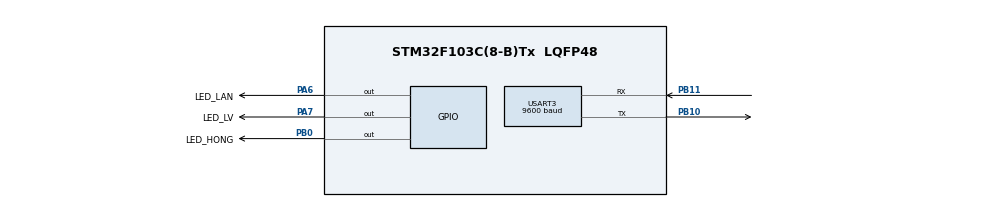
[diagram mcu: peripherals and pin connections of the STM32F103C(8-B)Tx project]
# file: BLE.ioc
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Dma.Request0=USART3_TX
Dma.Request1=USART3_RX
Dma.USART3_RX.1.Direction=DMA_PERIPH_TO_MEMORY
Dma.USART3_RX.1.Instance=DMA1_Channel3
Dma.USART3_RX.1.MemDataAlignment=DMA_MDATAALIGN_BYTE
Dma.USART3_RX.1.MemInc=DMA_MINC_ENABLE
Dma.USART3_RX.1.Mode=DMA_NORMAL
Dma.USART3_RX.1.PeriphDataAlignment=DMA_PDATAALIGN_BYTE
Dma.USART3_RX.1.PeriphInc=DMA_PINC_DISABLE
Dma.USART3_RX.1.Priority=DMA_PRIORITY_LOW
Dma.USART3_TX.0.Direction=DMA_MEMORY_TO_PERIPH
Dma.USART3_TX.0.Instance=DMA1_Channel2
Dma.USART3_TX.0.MemDataAlignment=DMA_MDATAALIGN_BYTE
Dma.USART3_TX.0.MemInc=DMA_MINC_ENABLE
Dma.USART3_TX.0.Mode=DMA_NORMAL
Dma.USART3_TX.0.PeriphDataAlignment=DMA_PDATAALIGN_BYTE
Dma.USART3_TX.0.PeriphInc=DMA_PINC_DISABLE
Dma.USART3_TX.0.Priority=DMA_PRIORITY_LOW
Mcu.Family=STM32F1
Mcu.Name=STM32F103C(8-B)Tx
Mcu.Package=LQFP48
NVIC.DMA1_Channel2_IRQn=true\:0\:0\:false\:false\:true\:false\:true\:true
NVIC.DMA1_Channel3_IRQn=true\:0\:0\:false\:false\:true\:false\:true\:true
NVIC.PriorityGroup=NVIC_PRIORITYGROUP_4
NVIC.USART3_IRQn=true\:0\:0\:false\:false\:true\:true\:true\:true
PA13.Mode=Serial_Wire
PA13.Signal=SYS_JTMS-SWDIO
PA14.Mode=Serial_Wire
PA14.Signal=SYS_JTCK-SWCLK
PA6.GPIO_Label=LED_LAN
PA6.Signal=GPIO_Output
PA7.GPIO_Label=LED_LV
PA7.Signal=GPIO_Output
PB0.GPIO_Label=LED_HONG
PB0.Signal=GPIO_Output
PB10.Mode=Asynchronous
PB10.Signal=USART3_TX
PB11.Mode=Asynchronous
PB11.Signal=USART3_RX
ProjectManager.HeapSize=0x200
ProjectManager.StackSize=0x400
ProjectManager.TargetToolchain=CMake
RCC.APB1Freq_Value=8000000
RCC.APB2Freq_Value=8000000
USART3.BaudRate=9600
USART3.VirtualMode=VM_ASYNC
board=custom

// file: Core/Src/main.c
/* USER CODE BEGIN Header */
/**
  ******************************************************************************
  * @file           : main.c
  * @brief          : Main program body
  ******************************************************************************
  * @attention
  *
  * Copyright (c) 2026 STMicroelectronics.
  * All rights reserved.
  *
  * This software is licensed under terms that can be found in the LICENSE file
  * in the root directory of this software component.
  * If no LICENSE file comes with this software, it is provided AS-IS.
  *
  ******************************************************************************
  */
/* USER CODE END Header */
#include "main.h"

UART_HandleTypeDef huart3;
DMA_HandleTypeDef hdma_usart3_tx;
DMA_HandleTypeDef hdma_usart3_rx;

/* USER CODE BEGIN PV */
uint8_t SHUJV[50];  /* 串口 DMA 接收缓冲区，存储接收到的数据帧 */
/* USER CODE END PV */

void SystemClock_Config(void);
static void MX_GPIO_Init(void);
static void MX_DMA_Init(void);
static void MX_USART3_UART_Init(void);

/* USER CODE BEGIN 0 */
/* 串口空闲中断+DMA 接收回调：收到一帧数据时触发 */
void HAL_UARTEx_RxEventCallback(UART_HandleTypeDef *huart, uint16_t Size){
  if (huart == &huart3) {
    HAL_UART_Transmit_DMA(&huart3, SHUJV, Size);    /* 将收到的数据原样回传（回显） */

    /* 数据帧格式：0xAA + 长度 + (LED编号 + 状态)*N + 校验和 */
    if (SHUJV[0] == 0xAA) {                          /* 帧头校验 */
      if (SHUJV[1] == Size) {                        /* 长度校验 */
        uint8_t SUM = 0;
        for(int i = 0;i < Size - 1;i++){              /* 累加除最后一字节外的所有数据 */
          SUM += SHUJV[i];
        }
        if (SUM == SHUJV[Size - 1]) {                 /* 和校验：累加结果 == 最后一字节 */
          for (int i = 2; i < Size - 1; i += 2) {     /* 从第3字节起，每两字节为一组控制指令 */
                GPIO_PinState BIANL = GPIO_PIN_SET;   /* 默认高电平（关灯） */
                if (SHUJV[i+1] == 0x00) {             /* 状态字节为 0x00 时低电平（开灯） */
                  BIANL = GPIO_PIN_RESET;
                }
                if (SHUJV[i] == 0x01) {               /* LED编号=0x01 → 蓝灯 */
                  HAL_GPIO_WritePin(LED_LAN_GPIO_Port, LED_LAN_Pin, BIANL);
                }else if(SHUJV[i] == 0x02) {          /* LED编号=0x02 → 绿灯 */
                  HAL_GPIO_WritePin(LED_LV_GPIO_Port, LED_LV_Pin, BIANL);
                }else if(SHUJV[i] == 0x03) {          /* LED编号=0x03 → 红灯 */
                  HAL_GPIO_WritePin(LED_HONG_GPIO_Port, LED_HONG_Pin, BIANL);
                }
          }

        }
      }

    }
    HAL_UARTEx_ReceiveToIdle_DMA(&huart3, SHUJV, sizeof(SHUJV)); /* 重新开启 DMA 接收 */
    __HAL_DMA_DISABLE_IT(&hdma_usart3_rx, DMA_IT_HT);            /* 关闭半传输中断，避免干扰 */
  }
}
/* USER CODE END 0 */

int main(void)
{

  /* MCU Configuration--------------------------------------------------------*/

  /* Reset of all peripherals, Initializes the Flash interface and the Systick. */
  HAL_Init();

  /* Configure the system clock */
  SystemClock_Config();

  /* Initialize all configured peripherals */
  MX_GPIO_Init();
  MX_DMA_Init();
  MX_USART3_UART_Init();
  /* USER CODE BEGIN 2 */
  HAL_UARTEx_ReceiveToIdle_DMA(&huart3, SHUJV, sizeof(SHUJV));  /* 开启空闲中断+DMA 接收数据 */
  __HAL_DMA_DISABLE_IT(&hdma_usart3_rx, DMA_IT_HT);             /* 关闭 DMA 半传输中断 */
  /* USER CODE END 2 */

  /* Infinite loop */
  while (1)
  {

  }
}

void SystemClock_Config(void)
{
  RCC_OscInitTypeDef RCC_OscInitStruct = {0};
  RCC_ClkInitTypeDef RCC_ClkInitStruct = {0};

  /** Initializes the RCC Oscillators according to the specified parameters
  * in the RCC_OscInitTypeDef structure.
  */
  RCC_OscInitStruct.OscillatorType = RCC_OSCILLATORTYPE_HSI;
  RCC_OscInitStruct.HSIState = RCC_HSI_ON;
  RCC_OscInitStruct.HSICalibrationValue = RCC_HSICALIBRATION_DEFAULT;
  RCC_OscInitStruct.PLL.PLLState = RCC_PLL_NONE;
  if (HAL_RCC_OscConfig(&RCC_OscInitStruct) != HAL_OK)
  {
    Error_Handler();
  }

  /** Initializes the CPU, AHB and APB buses clocks
  */
  RCC_ClkInitStruct.ClockType = RCC_CLOCKTYPE_HCLK|RCC_CLOCKTYPE_SYSCLK
                              |RCC_CLOCKTYPE_PCLK1|RCC_CLOCKTYPE_PCLK2;
  RCC_ClkInitStruct.SYSCLKSource = RCC_SYSCLKSOURCE_HSI;
  RCC_ClkInitStruct.AHBCLKDivider = RCC_SYSCLK_DIV1;
  RCC_ClkInitStruct.APB1CLKDivider = RCC_HCLK_DIV1;
  RCC_ClkInitStruct.APB2CLKDivider = RCC_HCLK_DIV1;

  if (HAL_RCC_ClockConfig(&RCC_ClkInitStruct, FLASH_LATENCY_0) != HAL_OK)
  {
    Error_Handler();
  }
}

static void MX_USART3_UART_Init(void)
{

  huart3.Instance = USART3;
  huart3.Init.BaudRate = 9600;
  huart3.Init.WordLength = UART_WORDLENGTH_8B;
  huart3.Init.StopBits = UART_STOPBITS_1;
  huart3.Init.Parity = UART_PARITY_NONE;
  huart3.Init.Mode = UART_MODE_TX_RX;
  huart3.Init.HwFlowCtl = UART_HWCONTROL_NONE;
  huart3.Init.OverSampling = UART_OVERSAMPLING_16;
  if (HAL_UART_Init(&huart3) != HAL_OK)
  {
    Error_Handler();
  }

}

static void MX_DMA_Init(void)
{

  /* DMA controller clock enable */
  __HAL_RCC_DMA1_CLK_ENABLE();

  /* DMA interrupt init */
  /* DMA1_Channel2_IRQn interrupt configuration */
  HAL_NVIC_SetPriority(DMA1_Channel2_IRQn, 0, 0);
  HAL_NVIC_EnableIRQ(DMA1_Channel2_IRQn);
  /* DMA1_Channel3_IRQn interrupt configuration */
  HAL_NVIC_SetPriority(DMA1_Channel3_IRQn, 0, 0);
  HAL_NVIC_EnableIRQ(DMA1_Channel3_IRQn);

}

static void MX_GPIO_Init(void)
{
  GPIO_InitTypeDef GPIO_InitStruct = {0};

  /* GPIO Ports Clock Enable */
  __HAL_RCC_GPIOA_CLK_ENABLE();
  __HAL_RCC_GPIOB_CLK_ENABLE();

  /*Configure GPIO pin Output Level */
  HAL_GPIO_WritePin(GPIOA, LED_LAN_Pin|LED_LV_Pin, GPIO_PIN_RESET);

  /*Configure GPIO pin Output Level */
  HAL_GPIO_WritePin(LED_HONG_GPIO_Port, LED_HONG_Pin, GPIO_PIN_RESET);

  /*Configure GPIO pins : LED_LAN_Pin LED_LV_Pin */
  GPIO_InitStruct.Pin = LED_LAN_Pin|LED_LV_Pin;
  GPIO_InitStruct.Mode = GPIO_MODE_OUTPUT_PP;
  GPIO_InitStruct.Pull = GPIO_NOPULL;
  GPIO_InitStruct.Speed = GPIO_SPEED_FREQ_LOW;
  HAL_GPIO_Init(GPIOA, &GPIO_InitStruct);

  /*Configure GPIO pin : LED_HONG_Pin */
  GPIO_InitStruct.Pin = LED_HONG_Pin;
  GPIO_InitStruct.Mode = GPIO_MODE_OUTPUT_PP;
  GPIO_InitStruct.Pull = GPIO_NOPULL;
  GPIO_InitStruct.Speed = GPIO_SPEED_FREQ_LOW;
  HAL_GPIO_Init(LED_HONG_GPIO_Port, &GPIO_InitStruct);

}

void Error_Handler(void)
{
  __disable_irq();
  while (1)
  {
  }
}
